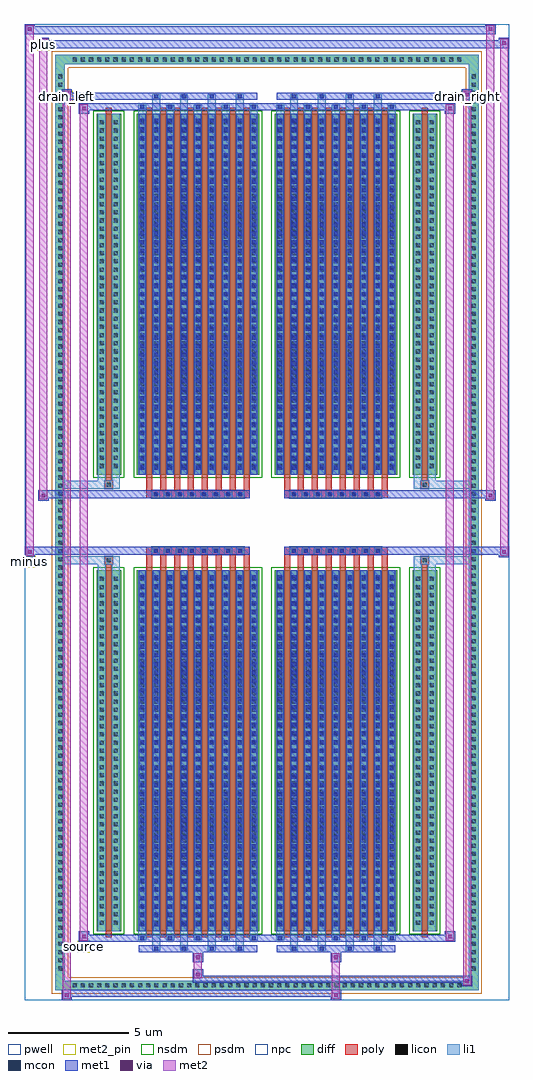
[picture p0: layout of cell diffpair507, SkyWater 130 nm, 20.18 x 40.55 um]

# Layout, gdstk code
import gdstk
lib = gdstk.Library(unit=1e-6, precision=5e-09)
def R(c, l, rs):  # rectangles x0, y0, x1, y1
    for r in rs: c.add(gdstk.rectangle(r[:2], r[2:], *l))
def A(c, l, x, y, w, h, nx, ny, dx, dy):  # array of equal rectangles
    R(c, l, [(x+i*dx, y+j*dy, x+i*dx+w, y+j*dy+h) for i in range(nx) for j in range(ny)])
def P(c, l, *ps):  # polygons
    for p in ps: c.add(gdstk.Polygon(p, *l))
pwell = (64, 44)
diff = (65, 20)
poly = (66, 20)
licon = (66, 44)
li1 = (67, 20)
mcon = (67, 44)
met1 = (68, 20)
via = (68, 44)
met2_pin = (69, 16)
met2 = (69, 20)
nsdm = (93, 44)
psdm = (94, 20)
npc = (95, 20)

diffpair507 = lib.new_cell('diffpair507')
R(diffpair507, pwell, [(-10.07,-19.84,10.07,20.71), (-7.39,-18.03,-0.01,-0.805), (0.01,-18.03,7.39,-0.805), (-7.39,0.805,-0.01,18.03), (0.01,0.805,7.39,18.03)])
A(diffpair507, diff, -8.195, -19.44, 0.41, 0.41, 48, 2, 0.34, 38.47)
A(diffpair507, diff, -8.8, -18.735, 0.41, 0.41, 1, 110, 0, 0.34)
A(diffpair507, diff, 8.39, -18.735, 0.41, 0.41, 1, 110, 0, 0.34)
R(diffpair507, diff, [(-8.195,-19.44,8.195,-19.03), (-8.8,-18.735,-8.39,18.735), (8.39,-18.735,8.8,18.735), (-7.08,-16.985,-6.05,-1.985), (-5.41,-16.985,-0.32,-1.985), (0.32,-16.985,5.41,-1.985), (6.05,-16.985,7.08,-1.985), (-7.08,1.985,-6.05,16.985), (-5.41,1.985,-0.32,16.985), (0.32,1.985,5.41,16.985), (6.05,1.985,7.08,16.985), (-8.195,19.03,8.195,19.44)])
P(diffpair507, diff, [(8.8,19.44),(-8.8,19.44),(-8.8,-19.03),(-8.39,-19.03),(-8.39,19.03),(8.39,19.03),(8.39,-19.03),(-8.39,-19.03),(-8.8,-19.03),(-8.8,-19.44),(8.8,-19.44)])
A(diffpair507, poly, -5.02, -17.235, 0.25, 15.5, 8, 2, 0.58, 18.97)
A(diffpair507, poly, 0.71, -17.235, 0.25, 15.5, 8, 2, 0.58, 18.97)
A(diffpair507, poly, -5.02, -1.735, 0.25, 0.4, 8, 2, 0.58, 3.07)
A(diffpair507, poly, 0.71, -1.735, 0.25, 0.4, 8, 2, 0.58, 3.07)
A(diffpair507, poly, -4.78, -1.335, 0.33, 0.33, 8, 2, 0.5, 2.34)
A(diffpair507, poly, 0.95, -1.335, 0.33, 0.33, 8, 2, 0.5, 2.34)
R(diffpair507, poly, [(-6.69,-17.235,-6.44,-1.735), (6.44,-17.235,6.69,-1.735), (-6.73,-1.735,-6.4,-1.405), (-6.73,-1.735,-6.4,-1.405), (6.4,-1.735,6.73,-1.405), (6.4,-1.735,6.73,-1.405), (-5.02,-1.335,-0.71,-1.005), (0.71,-1.335,5.02,-1.005), (-5.02,1.005,-0.71,1.335), (0.71,1.005,5.02,1.335), (-6.73,1.405,-6.4,1.735), (-6.73,1.405,-6.4,1.735), (6.4,1.405,6.73,1.735), (6.4,1.405,6.73,1.735), (-6.69,1.735,-6.44,17.235), (6.44,1.735,6.69,17.235)])
A(diffpair507, licon, -8.075, -19.32, 0.17, 0.17, 48, 2, 0.34, 38.47)
A(diffpair507, licon, -8.68, -18.615, 0.17, 0.17, 1, 110, 0, 0.34)
A(diffpair507, licon, 8.51, -18.615, 0.17, 0.17, 1, 110, 0, 0.34)
A(diffpair507, licon, -6.94, -16.71, 0.17, 0.17, 1, 43, 0, 0.34)
A(diffpair507, licon, -6.36, -16.71, 0.17, 0.17, 1, 43, 0, 0.34)
A(diffpair507, licon, -5.27, -16.71, 0.17, 0.17, 9, 43, 0.58, 0.34)
A(diffpair507, licon, 0.46, -16.71, 0.17, 0.17, 9, 43, 0.58, 0.34)
A(diffpair507, licon, 6.19, -16.71, 0.17, 0.17, 1, 43, 0, 0.34)
A(diffpair507, licon, 6.77, -16.71, 0.17, 0.17, 1, 43, 0, 0.34)
A(diffpair507, licon, -4.7, -1.255, 0.17, 0.17, 8, 2, 0.5, 2.34)
A(diffpair507, licon, 1.03, -1.255, 0.17, 0.17, 8, 2, 0.5, 2.34)
A(diffpair507, licon, -6.94, 2.26, 0.17, 0.17, 1, 43, 0, 0.34)
A(diffpair507, licon, -6.36, 2.26, 0.17, 0.17, 1, 43, 0, 0.34)
A(diffpair507, licon, -5.27, 2.26, 0.17, 0.17, 9, 43, 0.58, 0.34)
A(diffpair507, licon, 0.46, 2.26, 0.17, 0.17, 9, 43, 0.58, 0.34)
A(diffpair507, licon, 6.19, 2.26, 0.17, 0.17, 1, 43, 0, 0.34)
A(diffpair507, licon, 6.77, 2.26, 0.17, 0.17, 1, 43, 0, 0.34)
R(diffpair507, licon, [(-6.65,-1.655,-6.48,-1.485), (6.48,-1.655,6.65,-1.485), (-6.65,1.485,-6.48,1.655), (6.48,1.485,6.65,1.655)])
A(diffpair507, li1, -8.155, -19.4, 0.33, 0.33, 48, 2, 0.34, 38.47)
A(diffpair507, li1, -8.76, -18.695, 0.33, 0.33, 1, 110, 0, 0.34)
A(diffpair507, li1, 8.43, -18.695, 0.33, 0.33, 1, 110, 0, 0.34)
A(diffpair507, li1, -4.77, -17.79, 0.33, 0.805, 4, 2, 1.16, 34.775)
A(diffpair507, li1, -4.69, -17.79, 0.17, 0.17, 4, 2, 1.16, 35.41)
A(diffpair507, li1, 0.96, -17.79, 0.33, 0.805, 4, 2, 1.16, 34.775)
A(diffpair507, li1, 1.04, -17.79, 0.17, 0.17, 4, 2, 1.16, 35.41)
A(diffpair507, li1, -5.35, -17.36, 0.33, 0.375, 5, 2, 1.16, 34.345)
A(diffpair507, li1, -5.27, -17.36, 0.17, 0.17, 5, 2, 1.16, 34.55)
A(diffpair507, li1, 0.38, -17.36, 0.33, 0.375, 5, 2, 1.16, 34.345)
A(diffpair507, li1, 0.46, -17.36, 0.17, 0.17, 5, 2, 1.16, 34.55)
A(diffpair507, li1, -5.35, -16.985, 0.33, 15, 9, 2, 0.58, 18.97)
A(diffpair507, li1, 0.38, -16.985, 0.33, 15, 9, 2, 0.58, 18.97)
A(diffpair507, li1, -7.02, -16.79, 0.33, 0.33, 1, 43, 0, 0.34)
A(diffpair507, li1, -6.44, -16.79, 0.33, 0.33, 1, 43, 0, 0.34)
A(diffpair507, li1, -5.35, -16.79, 0.33, 0.33, 9, 43, 0.58, 0.34)
A(diffpair507, li1, 0.38, -16.79, 0.33, 0.33, 9, 43, 0.58, 0.34)
A(diffpair507, li1, 6.11, -16.79, 0.33, 0.33, 1, 43, 0, 0.34)
A(diffpair507, li1, 6.69, -16.79, 0.33, 0.33, 1, 43, 0, 0.34)
A(diffpair507, li1, -5.27, -16.77, 0.17, 0.17, 9, 41, 0.58, 0.36)
A(diffpair507, li1, -5.27, -16.77, 0.17, 14.57, 9, 2, 0.58, 18.97)
A(diffpair507, li1, 0.46, -16.77, 0.17, 0.17, 9, 41, 0.58, 0.36)
A(diffpair507, li1, 0.46, -16.77, 0.17, 14.57, 9, 2, 0.58, 18.97)
A(diffpair507, li1, -4.78, -1.335, 0.33, 0.33, 8, 2, 0.5, 2.34)
A(diffpair507, li1, 0.95, -1.335, 0.33, 0.33, 8, 2, 0.5, 2.34)
A(diffpair507, li1, -7.02, 2.18, 0.33, 0.33, 1, 43, 0, 0.34)
A(diffpair507, li1, -6.44, 2.18, 0.33, 0.33, 1, 43, 0, 0.34)
A(diffpair507, li1, -5.35, 2.18, 0.33, 0.33, 9, 43, 0.58, 0.34)
A(diffpair507, li1, 0.38, 2.18, 0.33, 0.33, 9, 43, 0.58, 0.34)
A(diffpair507, li1, 6.11, 2.18, 0.33, 0.33, 1, 43, 0, 0.34)
A(diffpair507, li1, 6.69, 2.18, 0.33, 0.33, 1, 43, 0, 0.34)
A(diffpair507, li1, -5.27, 2.2, 0.17, 0.17, 9, 41, 0.58, 0.36)
A(diffpair507, li1, 0.46, 2.2, 0.17, 0.17, 9, 41, 0.58, 0.36)
R(diffpair507, li1, [(-8.8,-19.44,-8.39,-19.03), (-8.8,-19.44,-8.39,-19.03), (-8.39,-19.44,8.39,-19.03), (8.39,-19.44,8.8,-19.03), (8.39,-19.44,8.8,-19.03), (-8.8,-19.03,-8.39,19.03), (8.39,-19.03,8.8,19.03), (-7.02,-16.985,-6.69,-1.985), (-6.44,-16.985,-6.11,-1.985), (6.11,-16.985,6.44,-1.985), (6.69,-16.985,7.02,-1.985), (-7.02,-1.985,-6.69,-1.405), (-6.44,-1.985,-6.11,-1.405), (6.11,-1.985,6.44,-1.405), (6.69,-1.985,7.02,-1.405), (-8.8,-1.735,-6.73,-1.405), (-7.02,-1.735,-6.73,-1.405), (-6.73,-1.735,-6.4,-1.405), (-6.4,-1.735,-6.11,-1.405), (6.11,-1.735,6.4,-1.405), (6.4,-1.735,6.73,-1.405), (6.4,-1.735,8.8,-1.405), (6.73,-1.735,7.02,-1.405), (-8.8,1.405,-6.73,1.735), (-7.02,1.405,-6.73,1.735), (-7.02,1.405,-6.69,1.985), (-6.73,1.405,-6.4,1.735), (-6.44,1.405,-6.11,1.985), (-6.4,1.405,-6.11,1.735), (6.11,1.405,6.4,1.735), (6.11,1.405,6.44,1.985), (6.4,1.405,6.73,1.735), (6.4,1.405,8.8,1.735), (6.69,1.405,7.02,1.985), (6.73,1.405,7.02,1.735), (-7.02,1.985,-6.69,16.985), (-6.44,1.985,-6.11,16.985), (6.11,1.985,6.44,16.985), (6.69,1.985,7.02,16.985), (-8.8,19.03,-8.39,19.44), (-8.8,19.03,-8.39,19.44), (-8.39,19.03,8.39,19.44), (8.39,19.03,8.8,19.44), (8.39,19.03,8.8,19.44)])
A(diffpair507, mcon, -4.69, -17.79, 0.17, 0.17, 4, 2, 1.16, 35.41)
A(diffpair507, mcon, 1.04, -17.79, 0.17, 0.17, 4, 2, 1.16, 35.41)
A(diffpair507, mcon, -5.27, -17.36, 0.17, 0.17, 5, 2, 1.16, 34.55)
A(diffpair507, mcon, 0.46, -17.36, 0.17, 0.17, 5, 2, 1.16, 34.55)
A(diffpair507, mcon, -5.27, -16.77, 0.17, 0.17, 9, 41, 0.58, 0.36)
A(diffpair507, mcon, 0.46, -16.77, 0.17, 0.17, 9, 41, 0.58, 0.36)
A(diffpair507, mcon, -4.7, -1.255, 0.17, 0.17, 8, 2, 0.5, 2.34)
A(diffpair507, mcon, 1.03, -1.255, 0.17, 0.17, 8, 2, 0.5, 2.34)
A(diffpair507, mcon, -5.27, 2.2, 0.17, 0.17, 9, 41, 0.58, 0.36)
A(diffpair507, mcon, 0.46, 2.2, 0.17, 0.17, 9, 41, 0.58, 0.36)
A(diffpair507, met1, -4.75, -17.85, 0.29, 0.29, 4, 2, 1.16, 35.41)
A(diffpair507, met1, 0.98, -17.85, 0.29, 0.29, 4, 2, 1.16, 35.41)
A(diffpair507, met1, -5.33, -17.42, 0.29, 0.29, 5, 2, 1.16, 34.55)
A(diffpair507, met1, 0.4, -17.42, 0.29, 0.29, 5, 2, 1.16, 34.55)
A(diffpair507, met1, -5.33, -16.985, 0.29, 15, 9, 2, 0.58, 18.97)
A(diffpair507, met1, 0.4, -16.985, 0.29, 15, 9, 2, 0.58, 18.97)
A(diffpair507, met1, -5.33, -16.83, 0.29, 0.29, 9, 41, 0.58, 0.36)
A(diffpair507, met1, 0.4, -16.83, 0.29, 0.29, 9, 41, 0.58, 0.36)
A(diffpair507, met1, -4.76, -1.315, 0.29, 0.29, 8, 2, 0.5, 2.34)
A(diffpair507, met1, 0.97, -1.315, 0.29, 0.29, 8, 2, 0.5, 2.34)
A(diffpair507, met1, -5.33, 2.14, 0.29, 0.29, 9, 41, 0.58, 0.36)
A(diffpair507, met1, 0.4, 2.14, 0.29, 0.29, 9, 41, 0.58, 0.36)
R(diffpair507, met1, [(-8.53,-19.84,-8.1,-19.41), (2.65,-19.84,3.08,-19.41), (-8.53,-19.7,3.08,-19.41), (8.1,-19.27,8.53,-18.84), (-3.08,-19.13,8.53,-18.84), (-3.08,-18.99,-2.65,-18.56), (-3.08,-18.28,-2.65,-17.85), (2.65,-18.28,3.08,-17.85), (-5.33,-17.85,-0.4,-17.56), (0.4,-17.85,5.33,-17.56), (-7.82,-17.42,-7.39,-16.99), (-7.82,-17.42,-5.33,-17.13), (-5.33,-17.42,-0.4,-17.13), (-0.4,-17.42,0.4,-17.13), (0.4,-17.42,5.33,-17.13), (5.33,-17.42,7.82,-17.13), (7.39,-17.42,7.82,-16.99), (-10.07,-1.435,-9.64,-1.005), (9.64,-1.435,10.07,-1.005), (-10.07,-1.335,-0.71,-1.005), (-5.02,-1.335,-0.71,-1.005), (0.71,-1.335,5.02,-1.005), (0.71,-1.335,10.07,-1.005), (-9.5,0.905,-9.07,1.335), (9.07,0.905,9.5,1.335), (-9.5,1.005,-5.02,1.335), (-5.02,1.005,-0.71,1.335), (0.71,1.005,5.02,1.335), (5.02,1.005,9.5,1.335), (-7.82,16.99,-7.39,17.42), (7.39,16.99,7.82,17.42), (-7.82,17.13,-5.33,17.42), (-5.33,17.13,-0.4,17.42), (-0.4,17.13,0.4,17.42), (0.4,17.13,5.33,17.42), (5.33,17.13,7.82,17.42), (-8.53,17.56,-8.1,17.99), (-8.53,17.56,-5.33,17.85), (-5.33,17.56,-0.4,17.85), (0.4,17.56,5.33,17.85), (5.33,17.56,8.53,17.85), (8.1,17.56,8.53,17.99), (-9.5,19.71,-9.07,20.14), (-9.5,19.71,-7.39,20.04), (-7.39,19.71,7.39,20.04), (7.39,19.71,10.07,20.04), (9.64,19.71,10.07,20.14), (-10.07,20.28,-9.64,20.71), (-10.07,20.28,-7.39,20.61), (-7.39,20.28,7.39,20.61), (7.39,20.28,9.5,20.61), (9.07,20.28,9.5,20.71)])
R(diffpair507, via, [(-8.39,-19.7,-8.24,-19.55), (2.79,-19.7,2.94,-19.55), (8.24,-19.13,8.39,-18.98), (-2.94,-18.85,-2.79,-18.7), (-2.94,-18.14,-2.79,-17.99), (2.79,-18.14,2.94,-17.99), (-7.68,-17.28,-7.53,-17.13), (7.53,-17.28,7.68,-17.13), (-9.93,-1.295,-9.78,-1.145), (9.78,-1.295,9.93,-1.145), (-9.36,1.045,-9.21,1.195), (9.21,1.045,9.36,1.195), (-7.68,17.13,-7.53,17.28), (7.53,17.13,7.68,17.28), (-8.39,17.7,-8.24,17.85), (8.24,17.7,8.39,17.85), (-9.36,19.85,-9.21,20), (9.78,19.85,9.93,20), (-9.93,20.42,-9.78,20.57), (9.21,20.42,9.36,20.57)])
R(diffpair507, met2_pin, [(-7.855,-17.87,-7.355,-17.37), (-10.105,-1.885,-9.605,-1.385), (-8.565,17.44,-8.065,17.94), (8.065,17.44,8.565,17.94), (-9.535,19.59,-9.035,20.09)])
R(diffpair507, met2, [(-8.48,-19.79,-8.15,-19.46), (-8.48,-19.79,-8.15,17.94), (2.7,-19.79,3.03,-19.46), (2.7,-19.46,3.03,-18.23), (8.15,-19.22,8.48,-18.89), (8.15,-19.22,8.48,17.94), (-3.03,-18.94,-2.7,-18.61), (-3.03,-18.61,-2.7,-18.23), (-3.03,-18.23,-2.7,-17.9), (2.7,-18.23,3.03,-17.9), (-7.77,-17.37,-7.44,-17.04), (-7.77,-17.37,-7.44,17.37), (7.44,-17.37,7.77,-17.04), (7.44,-17.37,7.77,17.37), (-10.02,-1.385,-9.69,-1.055), (-10.02,-1.385,-9.69,20.66), (9.69,-1.385,10.02,-1.055), (9.69,-1.385,10.02,20.09), (-9.45,0.955,-9.12,1.285), (-9.45,0.955,-9.12,20.09), (9.12,0.955,9.45,1.285), (9.12,0.955,9.45,20.66), (-7.77,17.04,-7.44,17.37), (7.44,17.04,7.77,17.37), (-8.48,17.61,-8.15,17.94), (8.15,17.61,8.48,17.94), (-9.45,19.76,-9.12,20.09), (9.69,19.76,10.02,20.09), (-10.02,20.33,-9.69,20.66), (9.12,20.33,9.45,20.66)])
P(diffpair507, met2, [(10.02,-1.385),(10.02,-1.385),(10.02,-1.055),(10.02,-1.055)],
  [(10.02,19.76),(10.02,19.76),(10.02,20.09),(10.02,20.09)],
  [(-9.69,-1.385),(-9.69,-1.385),(-9.69,-1.055),(-9.69,-1.055)],
  [(-9.69,20.33),(-9.69,20.33),(-9.69,20.66),(-9.69,20.66)],
  [(9.45,0.955),(9.45,0.955),(9.45,1.285),(9.45,1.285)],
  [(9.45,20.33),(9.45,20.33),(9.45,20.66),(9.45,20.66)],
  [(-9.12,0.955),(-9.12,0.955),(-9.12,1.285),(-9.12,1.285)],
  [(-9.12,19.76),(-9.12,19.76),(-9.12,20.09),(-9.12,20.09)],
  [(-8.15,-19.79),(-8.15,-19.79),(-8.15,-19.46),(-8.15,-19.46)],
  [(-8.15,17.61),(-8.15,17.61),(-8.15,17.94),(-8.15,17.94)],
  [(8.48,-19.22),(8.48,-19.22),(8.48,-18.89),(8.48,-18.89)],
  [(8.48,17.61),(8.48,17.61),(8.48,17.94),(8.48,17.94)],
  [(-7.44,-17.37),(-7.44,-17.37),(-7.44,-17.04),(-7.44,-17.04)],
  [(-7.44,17.04),(-7.44,17.04),(-7.44,17.37),(-7.44,17.37)],
  [(7.77,-17.37),(7.77,-17.37),(7.77,-17.04),(7.77,-17.04)],
  [(7.77,17.04),(7.77,17.04),(7.77,17.37),(7.77,17.37)])
R(diffpair507, nsdm, [(-7.21,-17.115,-5.92,-1.855), (-5.54,-17.115,-0.19,-1.855), (0.19,-17.115,5.54,-1.855), (5.92,-17.115,7.21,-1.855), (-7.21,1.855,-5.92,17.115), (-5.54,1.855,-0.19,17.115), (0.19,1.855,5.54,17.115), (5.92,1.855,7.21,17.115)])
P(diffpair507, psdm, [(8.93,19.57),(-8.93,19.57),(-8.93,-18.9),(-8.26,-18.9),(-8.26,18.9),(8.26,18.9),(8.26,-18.9),(-8.26,-18.9),(-8.93,-18.9),(-8.93,-19.57),(8.93,-19.57)])
A(diffpair507, npc, -4.8, -1.355, 0.37, 0.37, 8, 2, 0.5, 2.34)
A(diffpair507, npc, 0.93, -1.355, 0.37, 0.37, 8, 2, 0.5, 2.34)
R(diffpair507, npc, [(-6.75,-1.755,-6.38,-1.385), (6.38,-1.755,6.75,-1.385), (-4.8,-1.355,-3.93,-0.985), (-4.8,-1.355,-3.93,-0.985), (-4.3,-1.355,-3.43,-0.985), (-4.3,-1.355,-3.43,-0.985), (-3.8,-1.355,-2.93,-0.985), (-3.8,-1.355,-2.93,-0.985), (-3.3,-1.355,-2.43,-0.985), (-3.3,-1.355,-2.43,-0.985), (-2.8,-1.355,-1.93,-0.985), (-2.8,-1.355,-1.93,-0.985), (-2.3,-1.355,-1.43,-0.985), (-2.3,-1.355,-1.43,-0.985), (-1.8,-1.355,-0.93,-0.985), (-1.8,-1.355,-0.93,-0.985), (0.93,-1.355,1.8,-0.985), (0.93,-1.355,1.8,-0.985), (1.43,-1.355,2.3,-0.985), (1.43,-1.355,2.3,-0.985), (1.93,-1.355,2.8,-0.985), (1.93,-1.355,2.8,-0.985), (2.43,-1.355,3.3,-0.985), (2.43,-1.355,3.3,-0.985), (2.93,-1.355,3.8,-0.985), (2.93,-1.355,3.8,-0.985), (3.43,-1.355,4.3,-0.985), (3.43,-1.355,4.3,-0.985), (3.93,-1.355,4.8,-0.985), (3.93,-1.355,4.8,-0.985), (-4.8,0.985,-3.93,1.355), (-4.8,0.985,-3.93,1.355), (-4.3,0.985,-3.43,1.355), (-4.3,0.985,-3.43,1.355), (-3.8,0.985,-2.93,1.355), (-3.8,0.985,-2.93,1.355), (-3.3,0.985,-2.43,1.355), (-3.3,0.985,-2.43,1.355), (-2.8,0.985,-1.93,1.355), (-2.8,0.985,-1.93,1.355), (-2.3,0.985,-1.43,1.355), (-2.3,0.985,-1.43,1.355), (-1.8,0.985,-0.93,1.355), (-1.8,0.985,-0.93,1.355), (0.93,0.985,1.8,1.355), (0.93,0.985,1.8,1.355), (1.43,0.985,2.3,1.355), (1.43,0.985,2.3,1.355), (1.93,0.985,2.8,1.355), (1.93,0.985,2.8,1.355), (2.43,0.985,3.3,1.355), (2.43,0.985,3.3,1.355), (2.93,0.985,3.8,1.355), (2.93,0.985,3.8,1.355), (3.43,0.985,4.3,1.355), (3.43,0.985,4.3,1.355), (3.93,0.985,4.8,1.355), (3.93,0.985,4.8,1.355), (-6.75,1.385,-6.38,1.755), (6.38,1.385,6.75,1.755)])
diffpair507.add(gdstk.Label('minus', (-9.855,-1.635), layer=69, texttype=5))
diffpair507.add(gdstk.Label('drain_right', (8.315,17.69), layer=69, texttype=5))
diffpair507.add(gdstk.Label('drain_left', (-8.315,17.69), layer=69, texttype=5))
diffpair507.add(gdstk.Label('source', (-7.605,-17.62), layer=69, texttype=5))
diffpair507.add(gdstk.Label('plus', (-9.285,19.84), layer=69, texttype=5))

lib.write_gds('diffpair507.gds')
